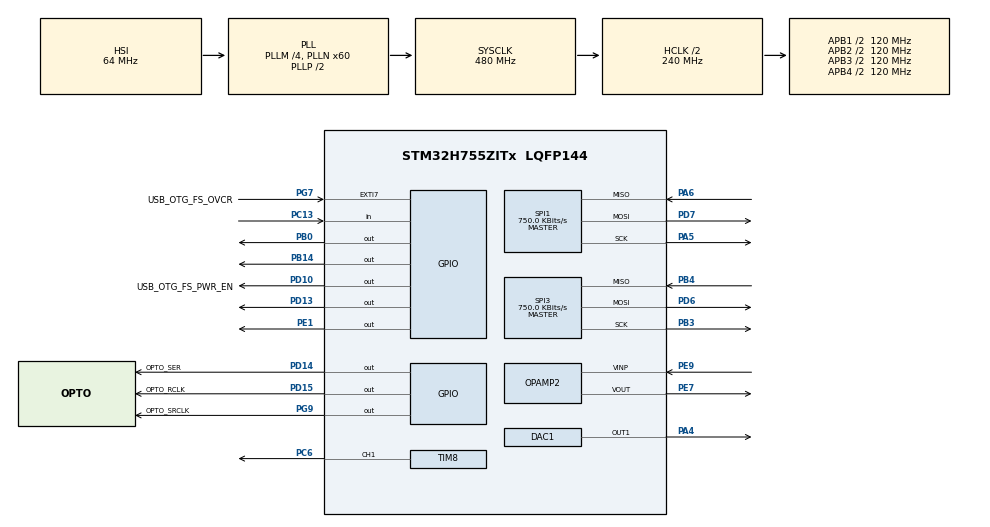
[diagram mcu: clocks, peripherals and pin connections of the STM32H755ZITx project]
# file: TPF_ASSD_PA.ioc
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CortexM4.IPs=FATFS_M4\:I,FREERTOS_M4\:I,IWDG2\:I,RCC,WWDG2\:I,DMA,BDMA,MDMA,NVIC2\:I,ETH,USART3,DEBUG,PDM2PCM_M4\:I,PWR,RESMGR_UTILITY,SYS_M4\:I,USB_DEVICE_M4\:I,USB_HOST_M4\:I,CORTEX_M4\:I,GPIO,OPENAMP_M4\:I,VREFBUF,NUCLEO-H755ZI-Q
CortexM7.IPs=FATFS_M7\:I,FREERTOS_M7\:I,IWDG1\:I,RCC\:I,WWDG1\:I,DMA\:I,BDMA\:I,MDMA\:I,NVIC1\:I,ETH\:I,USART3\:I,USB_OTG_FS\:I,SYS\:I,CORTEX_M7\:I,DEBUG\:I,PDM2PCM_M7\:I,PWR\:I,RESMGR_UTILITY\:I,USB_DEVICE_M7\:I,USB_HOST_M7\:I,GPIO\:I,OPENAMP_M7\:I,VREFBUF\:I,NUCLEO-H755ZI-Q\:I,MEMORYMAP\:I,DAC1\:I,TIM7\:I,COMP1\:I,OPAMP2\:I,SPI1\:I,TIM8\:I,SPI3\:I
CortexM7.Pins=PD13,PD14,PD15,PG9
DAC1.DAC_Channel-DAC_OUT1=DAC_CHANNEL_1
DAC1.DAC_Trigger-DAC_OUT1=DAC_TRIGGER_T7_TRGO
Dma.DAC1_CH1.0.Direction=DMA_MEMORY_TO_PERIPH
Dma.DAC1_CH1.0.EventEnable=DISABLE
Dma.DAC1_CH1.0.FIFOMode=DMA_FIFOMODE_DISABLE
Dma.DAC1_CH1.0.Instance=DMA2_Stream0
Dma.DAC1_CH1.0.MemDataAlignment=DMA_MDATAALIGN_HALFWORD
Dma.DAC1_CH1.0.MemInc=DMA_MINC_ENABLE
Dma.DAC1_CH1.0.Mode=DMA_CIRCULAR
Dma.DAC1_CH1.0.PeriphDataAlignment=DMA_PDATAALIGN_HALFWORD
Dma.DAC1_CH1.0.PeriphInc=DMA_PINC_DISABLE
Dma.DAC1_CH1.0.Polarity=HAL_DMAMUX_REQ_GEN_RISING
Dma.DAC1_CH1.0.Priority=DMA_PRIORITY_HIGH
Dma.DAC1_CH1.0.RequestNumber=1
Dma.DAC1_CH1.0.SignalID=NONE
Dma.DAC1_CH1.0.SyncEnable=DISABLE
Dma.DAC1_CH1.0.SyncPolarity=HAL_DMAMUX_SYNC_NO_EVENT
Dma.DAC1_CH1.0.SyncRequestNumber=1
Dma.DAC1_CH1.0.SyncSignalID=NONE
Dma.Request0=DAC1_CH1
Dma.Request1=SPI1_RX
Dma.Request2=TIM8_CH2
Dma.Request3=TIM8_CH3
Dma.Request4=SPI3_RX
Dma.SPI1_RX.1.Direction=DMA_PERIPH_TO_MEMORY
Dma.SPI1_RX.1.EventEnable=DISABLE
Dma.SPI1_RX.1.FIFOMode=DMA_FIFOMODE_DISABLE
Dma.SPI1_RX.1.Instance=DMA1_Stream1
Dma.SPI1_RX.1.MemDataAlignment=DMA_MDATAALIGN_HALFWORD
Dma.SPI1_RX.1.MemInc=DMA_MINC_ENABLE
Dma.SPI1_RX.1.Mode=DMA_CIRCULAR
Dma.SPI1_RX.1.PeriphDataAlignment=DMA_PDATAALIGN_HALFWORD
Dma.SPI1_RX.1.PeriphInc=DMA_PINC_DISABLE
Dma.SPI1_RX.1.Polarity=HAL_DMAMUX_REQ_GEN_RISING
Dma.SPI1_RX.1.Priority=DMA_PRIORITY_HIGH
Dma.SPI1_RX.1.RequestNumber=1
Dma.SPI1_RX.1.SignalID=NONE
Dma.SPI1_RX.1.SyncEnable=DISABLE
Dma.SPI1_RX.1.SyncPolarity=HAL_DMAMUX_SYNC_NO_EVENT
Dma.SPI1_RX.1.SyncRequestNumber=1
Dma.SPI1_RX.1.SyncSignalID=NONE
Dma.SPI3_RX.4.Direction=DMA_PERIPH_TO_MEMORY
Dma.SPI3_RX.4.EventEnable=DISABLE
Dma.SPI3_RX.4.FIFOMode=DMA_FIFOMODE_DISABLE
Dma.SPI3_RX.4.Instance=DMA1_Stream4
Dma.SPI3_RX.4.MemDataAlignment=DMA_MDATAALIGN_HALFWORD
Dma.SPI3_RX.4.MemInc=DMA_MINC_ENABLE
Dma.SPI3_RX.4.Mode=DMA_CIRCULAR
Dma.SPI3_RX.4.PeriphDataAlignment=DMA_PDATAALIGN_HALFWORD
Dma.SPI3_RX.4.PeriphInc=DMA_PINC_DISABLE
Dma.SPI3_RX.4.Polarity=HAL_DMAMUX_REQ_GEN_RISING
Dma.SPI3_RX.4.Priority=DMA_PRIORITY_HIGH
Dma.SPI3_RX.4.RequestNumber=1
Dma.SPI3_RX.4.SignalID=NONE
Dma.SPI3_RX.4.SyncEnable=DISABLE
Dma.SPI3_RX.4.SyncPolarity=HAL_DMAMUX_SYNC_NO_EVENT
Dma.SPI3_RX.4.SyncRequestNumber=1
Dma.SPI3_RX.4.SyncSignalID=NONE
Dma.TIM8_CH2.2.Direction=DMA_MEMORY_TO_PERIPH
Dma.TIM8_CH2.2.EventEnable=DISABLE
Dma.TIM8_CH2.2.FIFOMode=DMA_FIFOMODE_DISABLE
Dma.TIM8_CH2.2.Instance=DMA1_Stream2
Dma.TIM8_CH2.2.MemDataAlignment=DMA_MDATAALIGN_HALFWORD
Dma.TIM8_CH2.2.MemInc=DMA_MINC_DISABLE
Dma.TIM8_CH2.2.Mode=DMA_CIRCULAR
Dma.TIM8_CH2.2.PeriphDataAlignment=DMA_PDATAALIGN_HALFWORD
Dma.TIM8_CH2.2.PeriphInc=DMA_PINC_DISABLE
Dma.TIM8_CH2.2.Polarity=HAL_DMAMUX_REQ_GEN_RISING
Dma.TIM8_CH2.2.Priority=DMA_PRIORITY_HIGH
Dma.TIM8_CH2.2.RequestNumber=1
Dma.TIM8_CH2.2.SignalID=NONE
Dma.TIM8_CH2.2.SyncEnable=DISABLE
Dma.TIM8_CH2.2.SyncPolarity=HAL_DMAMUX_SYNC_NO_EVENT
Dma.TIM8_CH2.2.SyncRequestNumber=1
Dma.TIM8_CH2.2.SyncSignalID=NONE
Dma.TIM8_CH3.3.Direction=DMA_MEMORY_TO_PERIPH
Dma.TIM8_CH3.3.EventEnable=DISABLE
Dma.TIM8_CH3.3.FIFOMode=DMA_FIFOMODE_DISABLE
Dma.TIM8_CH3.3.Instance=DMA1_Stream3
Dma.TIM8_CH3.3.MemDataAlignment=DMA_MDATAALIGN_HALFWORD
Dma.TIM8_CH3.3.MemInc=DMA_MINC_DISABLE
Dma.TIM8_CH3.3.Mode=DMA_CIRCULAR
Dma.TIM8_CH3.3.PeriphDataAlignment=DMA_PDATAALIGN_HALFWORD
Dma.TIM8_CH3.3.PeriphInc=DMA_PINC_DISABLE
Dma.TIM8_CH3.3.Polarity=HAL_DMAMUX_REQ_GEN_RISING
Dma.TIM8_CH3.3.Priority=DMA_PRIORITY_HIGH
Dma.TIM8_CH3.3.RequestNumber=1
Dma.TIM8_CH3.3.SignalID=NONE
Dma.TIM8_CH3.3.SyncEnable=DISABLE
Dma.TIM8_CH3.3.SyncPolarity=HAL_DMAMUX_SYNC_NO_EVENT
Dma.TIM8_CH3.3.SyncRequestNumber=1
Dma.TIM8_CH3.3.SyncSignalID=NONE
Mcu.Family=STM32H7
Mcu.Name=STM32H755ZITx
Mcu.Package=LQFP144
NUCLEO-H755ZI-Q.BUTTON=1
NUCLEO-H755ZI-Q.LD1=true
NUCLEO-H755ZI-Q.LD2=true
NUCLEO-H755ZI-Q.LD3=true
NUCLEO-H755ZI-Q.VCP=true
NVIC1.DMA1_Stream1_IRQn=true\:0\:0\:false\:false\:true\:false\:true\:true
NVIC1.DMA1_Stream2_IRQn=true\:0\:0\:false\:false\:true\:false\:true\:true
NVIC1.DMA1_Stream3_IRQn=true\:0\:0\:false\:false\:true\:false\:true\:true
NVIC1.DMA1_Stream4_IRQn=true\:0\:0\:false\:false\:true\:false\:true\:true
NVIC1.DMA2_Stream0_IRQn=true\:0\:0\:false\:false\:true\:false\:true\:true
NVIC1.EXTI15_10_IRQn=true\:0\:0\:false\:false\:true\:false\:true\:true
NVIC1.PriorityGroup=NVIC_PRIORITYGROUP_4
NVIC1.SPI1_IRQn=true\:0\:0\:false\:false\:true\:false\:true\:true
NVIC1.SPI3_IRQn=true\:0\:0\:false\:false\:true\:false\:true\:true
NVIC2.PriorityGroup=NVIC_PRIORITYGROUP_4
OPAMP2.PowerMode=OPAMP_POWERMODE_HIGHSPEED
PA1.PinAttribute=CortexM7
PA1.Signal=ETH_REF_CLK
PA11.PinAttribute=CortexM7
PA11.Signal=USB_OTG_FS_DM
PA12.PinAttribute=CortexM7
PA12.Signal=USB_OTG_FS_DP
PA2.PinAttribute=CortexM7
PA2.Signal=ETH_MDIO
PA4.PinAttribute=CortexM7
PA4.Signal=COMP_DAC11_group
PA5.GPIO_Speed=GPIO_SPEED_FREQ_HIGH
PA5.Mode=Full_Duplex_Master
PA5.PinAttribute=CortexM7
PA5.Signal=SPI1_SCK
PA6.Mode=Full_Duplex_Master
PA6.PinAttribute=CortexM7
PA6.Signal=SPI1_MISO
PA7.PinAttribute=CortexM7
PA7.Signal=ETH_CRS_DV
PA8.PinAttribute=CortexM7
PA8.Signal=USB_OTG_FS_SOF
PA9.PinAttribute=CortexM7
PA9.Signal=USB_OTG_FS_VBUS
PB0.Signal=GPIO_Output
PB13.PinAttribute=CortexM7
PB13.Signal=ETH_TXD1
PB14.Signal=GPIO_Output
PB3\ (JTDO/TRACESWO).GPIO_Speed=GPIO_SPEED_FREQ_HIGH
PB3\ (JTDO/TRACESWO).Mode=Full_Duplex_Master
PB3\ (JTDO/TRACESWO).PinAttribute=CortexM7
PB3\ (JTDO/TRACESWO).Signal=SPI3_SCK
PB4\ (NJTRST).GPIO_Speed=GPIO_SPEED_FREQ_LOW
PB4\ (NJTRST).Mode=Full_Duplex_Master
PB4\ (NJTRST).PinAttribute=CortexM7
PB4\ (NJTRST).Signal=SPI3_MISO
PC1.PinAttribute=CortexM7
PC1.Signal=ETH_MDC
PC13.Signal=GPIO_Input
PC14-OSC32_IN\ (OSC32_IN).PinAttribute=Free
PC14-OSC32_IN\ (OSC32_IN).Signal=RCC_OSC32_IN
PC15-OSC32_OUT\ (OSC32_OUT).PinAttribute=Free
PC15-OSC32_OUT\ (OSC32_OUT).Signal=RCC_OSC32_OUT
PC4.PinAttribute=CortexM7
PC4.Signal=ETH_RXD0
PC5.PinAttribute=CortexM7
PC5.Signal=ETH_RXD1
PC6.GPIO_Speed=GPIO_SPEED_FREQ_HIGH
PC6.PinAttribute=CortexM7
PC6.Signal=S_TIM8_CH1
PC8.PinAttribute=CortexM7
PC8.Signal=S_TIM8_CH3
PD10.GPIO_Label=USB_OTG_FS_PWR_EN
PD10.PinAttribute=Free
PD10.Signal=GPIO_Output
PD13.GPIO_Speed=GPIO_SPEED_FREQ_MEDIUM
PD13.PinAttribute=CortexM7
PD13.Signal=GPIO_Output
PD14.GPIO_Label=OPTO_SER
PD14.GPIO_Speed=GPIO_SPEED_FREQ_MEDIUM
PD14.PinAttribute=CortexM7
PD14.Signal=GPIO_Output
PD15.GPIO_Label=OPTO_RCLK
PD15.GPIO_Speed=GPIO_SPEED_FREQ_MEDIUM
PD15.PinAttribute=CortexM7
PD15.Signal=GPIO_Output
PD6.GPIO_Speed=GPIO_SPEED_FREQ_LOW
PD6.Mode=Full_Duplex_Master
PD6.PinAttribute=CortexM7
PD6.Signal=SPI3_MOSI
PD7.Mode=Full_Duplex_Master
PD7.PinAttribute=CortexM7
PD7.Signal=SPI1_MOSI
PD8.Signal=USART3_TX
PD9.Signal=USART3_RX
PE1.Signal=GPIO_Output
PE7.Mode=Follower
PE7.PinAttribute=CortexM7
PE7.Signal=OPAMP2_VOUT
PE9.Mode=Follower
PE9.PinAttribute=CortexM7
PE9.Signal=OPAMP2_VINP
PG11.PinAttribute=CortexM7
PG11.Signal=ETH_TX_EN
PG13.PinAttribute=CortexM7
PG13.Signal=ETH_TXD0
PG7.GPIO_Label=USB_OTG_FS_OVCR
PG7.PinAttribute=Free
PG7.Signal=GPXTI7
PG9.GPIO_Label=OPTO_SRCLK
PG9.GPIO_Speed=GPIO_SPEED_FREQ_MEDIUM
PG9.PinAttribute=CortexM7
PG9.Signal=GPIO_Output
PH0-OSC_IN\ (PH0).PinAttribute=Free
PH0-OSC_IN\ (PH0).Signal=RCC_OSC_IN
PH1-OSC_OUT\ (PH1).PinAttribute=Free
PH1-OSC_OUT\ (PH1).Signal=RCC_OSC_OUT
ProjectManager.HeapSize=M4-0x200,M7-0x200
ProjectManager.StackSize=M4-0x400,M7-0x400
ProjectManager.TargetToolchain=STM32CubeIDE
RCC.ADCFreq_Value=129000000
RCC.APB1Freq_Value=120000000
RCC.APB2Freq_Value=120000000
RCC.APB3Freq_Value=120000000
RCC.APB4Freq_Value=120000000
RCC.CortexFreq_Value=480000000
RCC.D1PPRE=RCC_APB3_DIV2
RCC.D2PPRE1=RCC_APB1_DIV2
RCC.D2PPRE2=RCC_APB2_DIV2
RCC.D3PPRE=RCC_APB4_DIV2
RCC.DIVM1=4
RCC.DIVN1=60
RCC.DIVQ1=5
RCC.HCLKFreq_Value=240000000
RCC.HPRE=RCC_HCLK_DIV2
RCC.PLL2FRACN=0
RCC.PLL3FRACN=0
RCC.PLLFRACN=0
RCC.SYSCLKFreq_VALUE=480000000
RCC.SYSCLKSource=RCC_SYSCLKSOURCE_PLLCLK
RCC.SupplySource=PWR_LDO_SUPPLY
RCC.USBFreq_Value=192000000
SH.COMP_DAC11_group.0=DAC1_OUT1,DAC_OUT1
SH.S_TIM8_CH1.0=TIM8_CH1,PWM Generation1 CH1
SH.S_TIM8_CH3.0=TIM8_CH3
SPI1.BaudRatePrescaler=SPI_BAUDRATEPRESCALER_256
SPI1.CalculateBaudRate=750.0 KBits/s
SPI1.DataSize=SPI_DATASIZE_16BIT
SPI1.Direction=SPI_DIRECTION_2LINES
SPI1.Mode=SPI_MODE_MASTER
SPI1.VirtualType=VM_MASTER
SPI3.BaudRatePrescaler=SPI_BAUDRATEPRESCALER_256
SPI3.CalculateBaudRate=750.0 KBits/s
SPI3.DataSize=SPI_DATASIZE_16BIT
SPI3.Direction=SPI_DIRECTION_2LINES
SPI3.Mode=SPI_MODE_MASTER
SPI3.VirtualType=VM_MASTER
TIM7.Period=250-1
TIM7.TIM_MasterOutputTrigger=TIM_TRGO_UPDATE
TIM8.Channel-PWM\ Generation1\ CH1=TIM_CHANNEL_1
TIM8.Channel-PWM\ Generation2\ No\ Output=TIM_CHANNEL_2
TIM8.Channel-PWM\ Generation3\ No\ Output=TIM_CHANNEL_3
TIM8.OCMode_PWM-PWM\ Generation1\ CH1=TIM_OCMODE_PWM2
TIM8.OCPolarity_1=TIM_OCPOLARITY_LOW
TIM8.Period=24000-1
TIM8.Pulse-PWM\ Generation1\ CH1=300
TIM8.Pulse-PWM\ Generation2\ No\ Output=400
TIM8.Pulse-PWM\ Generation3\ No\ Output=400
VP_MEMORYMAP_VS_MEMORYMAP.Mode=CurAppReg
VP_NUCLEO-H755ZI-Q_VS_BSP_COMMON.Mode=COMMON
VP_SYS_M4_VS_Systick.Mode=SysTick
VP_TIM7_VS_ClockSourceINT.Mode=Enable_Timer
VP_TIM8_VS_no_output2.Mode=PWM Generation2 No Output
VP_TIM8_VS_no_output3.Mode=PWM Generation3 No Output
board=NUCLEO-H755ZI-Q

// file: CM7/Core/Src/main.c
/* USER CODE BEGIN Header */
/**
  ******************************************************************************
  * @file           : main.c
  * @brief          : Main program body
  ******************************************************************************
  * @attention
  *
  * Copyright (c) 2026 STMicroelectronics.
  * All rights reserved.
  *
  * This software is licensed under terms that can be found in the LICENSE file
  * in the root directory of this software component.
  * If no LICENSE file comes with this software, it is provided AS-IS.
  *
  ******************************************************************************
  */
/* USER CODE END Header */
#include "main.h"

/* USER CODE BEGIN Includes */
#include "string.h"
#include "dsp_pipeline.h"    /* DSP pipeline orchestration */
#include "dsp_tests.h"       /* DSP test suite (optional) */
/* USER CODE END Includes */

/* USER CODE BEGIN PD */

/* Enable DSP test suite at startup (comment out for production) */
#define RUN_DSP_TESTS_AT_STARTUP 1

/* DUAL_CORE_BOOT_SYNC_SEQUENCE: Define for dual core boot synchronization    */
/*                             demonstration code based on hardware semaphore */
/* This define is present in both CM7/CM4 projects                            */
/* To comment when developping/debugging on a single core                     */
#define DUAL_CORE_BOOT_SYNC_SEQUENCE

#if defined(DUAL_CORE_BOOT_SYNC_SEQUENCE)
#ifndef HSEM_ID_0
#define HSEM_ID_0 (0U) /* HW semaphore 0*/
#endif
#endif /* DUAL_CORE_BOOT_SYNC_SEQUENCE */

/* USER CODE END PD */

COM_InitTypeDef BspCOMInit;

DAC_HandleTypeDef hdac1;
DMA_HandleTypeDef hdma_dac1_ch1;

OPAMP_HandleTypeDef hopamp2;

SPI_HandleTypeDef hspi1;
SPI_HandleTypeDef hspi3;
DMA_HandleTypeDef hdma_spi1_rx;
DMA_HandleTypeDef hdma_spi3_rx;

TIM_HandleTypeDef htim7;
TIM_HandleTypeDef htim8;
DMA_HandleTypeDef hdma_tim8_ch2;
DMA_HandleTypeDef hdma_tim8_ch3;

/* USER CODE BEGIN PV */

const uint16_t sine_lut_48[48] = {
    2048, 2288, 2524, 2753, 2969, 3169, 3351, 3509,
    3643, 3750, 3827, 3874, 3890, 3874, 3827, 3750,
    3643, 3509, 3351, 3169, 2969, 2753, 2524, 2288,
    2048, 1807, 1571, 1342, 1126,  926,  744,  586,
     452,  345,  268,  221,  205,  221,  268,  345,
     452,  586,  744,  926, 1126, 1342, 1571, 1807,
};

#define N_SAMPLES 5120
#define N_SAMPLES_HALF 2560
static uint16_t adc_V_buf[N_SAMPLES];
static uint16_t adc_I_buf[N_SAMPLES];
static uint16_t spi_tx_V_dummy = 0x0000;
static uint16_t spi_tx_I_dummy = 0x0000;

/* DSP Pipeline Instance - maintains filter state, FFT tables, measurements */
static DSPPipeline_t dsp_pipeline;

/* Measurement output - updated by DSP after each half-buffer */
static MeasurementOutput_t measurement_result;
static volatile uint8_t result_ready = 0;

/* Interrupt flags - set when each half-buffer is complete */
static volatile uint8_t v_half_ready = 0, i_half_ready = 0;
static volatile uint8_t v_full_ready = 0, i_full_ready = 0;

extern UART_HandleTypeDef hcom_uart[];

/* PGA281 gain command reception from PC GUI over the same VCP UART.
   Protocol: ASCII line "GAIN,<v_gain>,<i_gain>\n" (gains: 1,2,4,...,128) */
#define PGA_CMD_BUF_LEN 32
#define PGA_DEFAULT_V_GAIN 4
#define PGA_DEFAULT_I_GAIN 16
static uint8_t pga_rx_byte;
static char pga_cmd_buf[PGA_CMD_BUF_LEN];
static volatile uint8_t pga_cmd_len = 0;
static volatile uint8_t pga_cmd_ready = 0;

/* Gains currently applied to the hardware; echoed in every measurement frame
   so the PC always scales with the real active gains */
static volatile uint16_t pga_active_v_gain = PGA_DEFAULT_V_GAIN;
static volatile uint16_t pga_active_i_gain = PGA_DEFAULT_I_GAIN;

// prototipos
void V_RxHalfDone(DMA_HandleTypeDef *hdma);
void V_RxFullDone(DMA_HandleTypeDef *hdma);
void I_RxHalfDone(DMA_HandleTypeDef *hdma);
void I_RxFullDone(DMA_HandleTypeDef *hdma);
void DWT_Init(void);
int DWT_Verify(void);
static inline void delay_us(uint32_t us);
void OPTO_ShiftOut(uint8_t data);
uint8_t GetPGAGainCode(uint16_t gain);
void SetPGA_Gains(uint16_t voltage_gain, uint16_t current_gain);
static void PGA_ProcessCommand(void);

/* USER CODE END PV */

void SystemClock_Config(void);
static void MX_DMA_Init(void);
static void MX_GPIO_Init(void);
static void MX_DAC1_Init(void);
static void MX_TIM7_Init(void);
static void MX_OPAMP2_Init(void);
static void MX_SPI1_Init(void);
static void MX_TIM8_Init(void);
static void MX_SPI3_Init(void);

int main(void)
{

/* USER CODE BEGIN Boot_Mode_Sequence_0 */
#if defined(DUAL_CORE_BOOT_SYNC_SEQUENCE)
  int32_t timeout;
#endif /* DUAL_CORE_BOOT_SYNC_SEQUENCE */
/* USER CODE END Boot_Mode_Sequence_0 */

/* USER CODE BEGIN Boot_Mode_Sequence_1 */
#if defined(DUAL_CORE_BOOT_SYNC_SEQUENCE)
  /* Wait until CPU2 boots and enters in stop mode or timeout*/
  timeout = 0xFFFF;
  while((__HAL_RCC_GET_FLAG(RCC_FLAG_D2CKRDY) != RESET) && (timeout-- > 0));
  if ( timeout < 0 )
  {
  Error_Handler();
  }
#endif /* DUAL_CORE_BOOT_SYNC_SEQUENCE */
/* USER CODE END Boot_Mode_Sequence_1 */
  /* MCU Configuration--------------------------------------------------------*/

  /* Reset of all peripherals, Initializes the Flash interface and the Systick. */
  HAL_Init();

  /* Configure the system clock */
  SystemClock_Config();
/* USER CODE BEGIN Boot_Mode_Sequence_2 */
#if defined(DUAL_CORE_BOOT_SYNC_SEQUENCE)
/* When system initialization is finished, Cortex-M7 will release Cortex-M4 by means of
HSEM notification */
/*HW semaphore Clock enable*/
__HAL_RCC_HSEM_CLK_ENABLE();
/*Take HSEM */
HAL_HSEM_FastTake(HSEM_ID_0);
/*Release HSEM in order to notify the CPU2(CM4)*/
HAL_HSEM_Release(HSEM_ID_0,0);
/* wait until CPU2 wakes up from stop mode */
timeout = 0xFFFF;
while((__HAL_RCC_GET_FLAG(RCC_FLAG_D2CKRDY) == RESET) && (timeout-- > 0));
if ( timeout < 0 )
{
Error_Handler();
}
#endif /* DUAL_CORE_BOOT_SYNC_SEQUENCE */
/* USER CODE END Boot_Mode_Sequence_2 */

  /* Initialize all configured peripherals */
  MX_DMA_Init();
  MX_GPIO_Init();
  MX_DAC1_Init();
  MX_TIM7_Init();
  MX_OPAMP2_Init();
  MX_SPI1_Init();
  MX_TIM8_Init();
  MX_SPI3_Init();
  /* USER CODE BEGIN 2 */

  /* Initialize DSP Pipeline */
  if (dsp_pipeline_init(&dsp_pipeline) < 0) {
      Error_Handler();
  }

  /* Run DSP test suite if enabled */
  #if defined(RUN_DSP_TESTS_AT_STARTUP)
  dsp_run_all_tests();
  #endif

  /* USER CODE END 2 */

  /* Initialize leds */
  BSP_LED_Init(LED_GREEN);
  BSP_LED_Init(LED_YELLOW);
  BSP_LED_Init(LED_RED);

  /* Initialize USER push-button, will be used to trigger an interrupt each time it's pressed.*/
  BSP_PB_Init(BUTTON_USER, BUTTON_MODE_EXTI);

  /* Initialize COM1 port (115200, 8 bits (7-bit data + 1 stop bit), no parity */
  BspCOMInit.BaudRate   = 115200;
  BspCOMInit.WordLength = COM_WORDLENGTH_8B;
  BspCOMInit.StopBits   = COM_STOPBITS_1;
  BspCOMInit.Parity     = COM_PARITY_NONE;
  BspCOMInit.HwFlowCtl  = COM_HWCONTROL_NONE;
  if (BSP_COM_Init(COM1, &BspCOMInit) != BSP_ERROR_NONE)
  {
    Error_Handler();
  }

  /* Infinite loop */
  /* USER CODE BEGIN WHILE */

  DWT_Init();
  HAL_Delay(1);
  if (DWT_Verify()){
	  BSP_LED_On(LED_RED);
  }
  /* PGA281 default gains (V=4, I=16 -> shift_data 0x5E, same as previous
     hardcoded value). Changeable at runtime via "GAIN,<v>,<i>\n" from the GUI. */
  SetPGA_Gains(PGA_DEFAULT_V_GAIN, PGA_DEFAULT_I_GAIN);

  /* Listen for PGA gain commands on the VCP UART (byte-by-byte, interrupt) */
  HAL_NVIC_SetPriority(USART3_IRQn, 5, 0);
  HAL_NVIC_EnableIRQ(USART3_IRQn);
  HAL_UART_Receive_IT(&hcom_uart[COM1], &pga_rx_byte, 1);

  HAL_OPAMP_SelfCalibrate(&hopamp2); // OPAMP para el filtro reconstructor
  HAL_OPAMP_Start(&hopamp2);

  HAL_DAC_Start_DMA(&hdac1, DAC_CHANNEL_1, (uint32_t*)sine_lut_48, 48, DAC_ALIGN_12B_R); // DAC sine wave with DMA
  HAL_TIM_Base_Start(&htim7); // DAC trigger
  HAL_Delay(100);
  HAL_GPIO_WritePin(GPIOD, GPIO_PIN_13, 1); // shutdown pin LM4871

  HAL_Delay(1000);

  // Tcnv = 1200ns (Entre que sube y baja el tim8)
  // Ten = 1300ns + 15ns max (entre que sube tim8 y trgo2)

  // Callbacks
  hdma_spi1_rx.XferHalfCpltCallback = V_RxHalfDone;
  hdma_spi1_rx.XferCpltCallback     = V_RxFullDone;

  hdma_spi3_rx.XferHalfCpltCallback = I_RxHalfDone;
  hdma_spi3_rx.XferCpltCallback     = I_RxFullDone;

  /* 1. RX side: continuous circular capture with 5120 samples
     Half-Transfer interrupt fires after 2560 samples (first half complete)
     Transfer-Complete interrupt fires after 5120 samples (second half complete) */
  HAL_DMA_Start_IT(&hdma_spi1_rx, (uint32_t)&hspi1.Instance->RXDR, (uint32_t)adc_V_buf, N_SAMPLES);
  HAL_DMA_Start_IT(&hdma_spi3_rx, (uint32_t)&hspi3.Instance->RXDR, (uint32_t)adc_I_buf, N_SAMPLES);

  /* 2. "TX" side: TIM8_CH2/CH3's DMA request feeds ONE dummy halfword into
        SPI1/SPI3->TXDR every time compare matches (paced by timer) */
  HAL_DMA_Start(&hdma_tim8_ch2, (uint32_t)&spi_tx_V_dummy, (uint32_t)&hspi1.Instance->TXDR, 1);
  HAL_DMA_Start(&hdma_tim8_ch3, (uint32_t)&spi_tx_I_dummy, (uint32_t)&hspi3.Instance->TXDR, 1);

  __HAL_TIM_ENABLE_DMA(&htim8, TIM_DMA_CC2);
  __HAL_TIM_ENABLE_DMA(&htim8, TIM_DMA_CC3);

  /* 3. Enable SPI DMA requests, enable SPI, arm the transfer */
  SET_BIT(hspi1.Instance->CFG1, SPI_CFG1_RXDMAEN);
  SET_BIT(hspi1.Instance->CFG1, SPI_CFG1_TXDMAEN);
  __HAL_SPI_ENABLE(&hspi1);
  SET_BIT(hspi1.Instance->CR1, SPI_CR1_CSTART);  /* master transfer start */

  SET_BIT(hspi3.Instance->CFG1, SPI_CFG1_RXDMAEN);
  SET_BIT(hspi3.Instance->CFG1, SPI_CFG1_TXDMAEN);
  __HAL_SPI_ENABLE(&hspi3);
  SET_BIT(hspi3.Instance->CR1, SPI_CR1_CSTART);  /* master transfer start */

  /* 4. Only now start TIM8 — CNVST pulses + the internal CH2 gate begin */
  HAL_TIM_PWM_Start(&htim8, TIM_CHANNEL_1);   // CNVST, physical pin
  HAL_TIM_PWM_Start(&htim8, TIM_CHANNEL_2);    // internal only, generates the // CH2 DMA request each period
  HAL_TIM_PWM_Start(&htim8, TIM_CHANNEL_3);

  uint32_t last_send_tick = 0;

  while (1)
  {
	/* Timer-based transmission (every 1000ms, independent of DSP processing)
	   DSP processing happens interrupt-driven after each half-buffer (every ~512ms)
	   This allows multiple DSP results to accumulate, then we send periodically */
	if (result_ready && (HAL_GetTick() - last_send_tick >= 1000)) {
		last_send_tick = HAL_GetTick();

		/* Stamp the active PGA gains so the PC can rescale to physical units */
		measurement_result.v_gain = (uint8_t)pga_active_v_gain;
		measurement_result.i_gain = (uint8_t)pga_active_i_gain;

		/* Transmit measurement results (NEW BINARY FORMAT) */
		/* Send measurement frame header */
		uint32_t header = 0xAA55AA55;
		HAL_UART_Transmit(&hcom_uart[COM1], (uint8_t*)&header, sizeof(header), 50);

		/* Send measurement struct (binary, ~200 bytes) */
		HAL_UART_Transmit(&hcom_uart[COM1], (uint8_t*)&measurement_result, sizeof(measurement_result), 100);

		/* Send frame footer for verification */
		uint32_t footer = 0x55AA55AA;
		HAL_UART_Transmit(&hcom_uart[COM1], (uint8_t*)&footer, sizeof(footer), 50);

		/* Clear result flag after transmission */
		result_ready = 0;
	}

	/* Apply PGA gain change requested by the GUI (parsed outside the ISR
	   because OPTO_ShiftOut busy-waits with delay_us) */
	if (pga_cmd_ready) {
		PGA_ProcessCommand();
		pga_cmd_ready = 0;
	}
    /* USER CODE END WHILE */

  }
}

void SystemClock_Config(void)
{
  RCC_OscInitTypeDef RCC_OscInitStruct = {0};
  RCC_ClkInitTypeDef RCC_ClkInitStruct = {0};

  /** Supply configuration update enable
  */
  HAL_PWREx_ConfigSupply(PWR_LDO_SUPPLY);

  /** Configure the main internal regulator output voltage
  */
  __HAL_PWR_VOLTAGESCALING_CONFIG(PWR_REGULATOR_VOLTAGE_SCALE0);

  while(!__HAL_PWR_GET_FLAG(PWR_FLAG_VOSRDY)) {}

  /** Initializes the RCC Oscillators according to the specified parameters
  * in the RCC_OscInitTypeDef structure.
  */
  RCC_OscInitStruct.OscillatorType = RCC_OSCILLATORTYPE_HSI;
  RCC_OscInitStruct.HSIState = RCC_HSI_DIV1;
  RCC_OscInitStruct.HSICalibrationValue = RCC_HSICALIBRATION_DEFAULT;
  RCC_OscInitStruct.PLL.PLLState = RCC_PLL_ON;
  RCC_OscInitStruct.PLL.PLLSource = RCC_PLLSOURCE_HSI;
  RCC_OscInitStruct.PLL.PLLM = 4;
  RCC_OscInitStruct.PLL.PLLN = 60;
  RCC_OscInitStruct.PLL.PLLP = 2;
  RCC_OscInitStruct.PLL.PLLQ = 5;
  RCC_OscInitStruct.PLL.PLLR = 2;
  RCC_OscInitStruct.PLL.PLLRGE = RCC_PLL1VCIRANGE_3;
  RCC_OscInitStruct.PLL.PLLVCOSEL = RCC_PLL1VCOWIDE;
  RCC_OscInitStruct.PLL.PLLFRACN = 0;
  if (HAL_RCC_OscConfig(&RCC_OscInitStruct) != HAL_OK)
  {
    Error_Handler();
  }

  /** Initializes the CPU, AHB and APB buses clocks
  */
  RCC_ClkInitStruct.ClockType = RCC_CLOCKTYPE_HCLK|RCC_CLOCKTYPE_SYSCLK
                              |RCC_CLOCKTYPE_PCLK1|RCC_CLOCKTYPE_PCLK2
                              |RCC_CLOCKTYPE_D3PCLK1|RCC_CLOCKTYPE_D1PCLK1;
  RCC_ClkInitStruct.SYSCLKSource = RCC_SYSCLKSOURCE_PLLCLK;
  RCC_ClkInitStruct.SYSCLKDivider = RCC_SYSCLK_DIV1;
  RCC_ClkInitStruct.AHBCLKDivider = RCC_HCLK_DIV2;
  RCC_ClkInitStruct.APB3CLKDivider = RCC_APB3_DIV2;
  RCC_ClkInitStruct.APB1CLKDivider = RCC_APB1_DIV2;
  RCC_ClkInitStruct.APB2CLKDivider = RCC_APB2_DIV2;
  RCC_ClkInitStruct.APB4CLKDivider = RCC_APB4_DIV2;

  if (HAL_RCC_ClockConfig(&RCC_ClkInitStruct, FLASH_LATENCY_4) != HAL_OK)
  {
    Error_Handler();
  }
}

static void MX_DAC1_Init(void)
{

  DAC_ChannelConfTypeDef sConfig = {0};

  /** DAC Initialization
  */
  hdac1.Instance = DAC1;
  if (HAL_DAC_Init(&hdac1) != HAL_OK)
  {
    Error_Handler();
  }

  /** DAC channel OUT1 config
  */
  sConfig.DAC_SampleAndHold = DAC_SAMPLEANDHOLD_DISABLE;
  sConfig.DAC_Trigger = DAC_TRIGGER_T7_TRGO;
  sConfig.DAC_OutputBuffer = DAC_OUTPUTBUFFER_ENABLE;
  sConfig.DAC_ConnectOnChipPeripheral = DAC_CHIPCONNECT_DISABLE;
  sConfig.DAC_UserTrimming = DAC_TRIMMING_FACTORY;
  if (HAL_DAC_ConfigChannel(&hdac1, &sConfig, DAC_CHANNEL_1) != HAL_OK)
  {
    Error_Handler();
  }

}

static void MX_OPAMP2_Init(void)
{

  hopamp2.Instance = OPAMP2;
  hopamp2.Init.Mode = OPAMP_FOLLOWER_MODE;
  hopamp2.Init.PowerMode = OPAMP_POWERMODE_HIGHSPEED;
  hopamp2.Init.UserTrimming = OPAMP_TRIMMING_FACTORY;
  if (HAL_OPAMP_Init(&hopamp2) != HAL_OK)
  {
    Error_Handler();
  }

}

static void MX_SPI1_Init(void)
{

  /* SPI1 parameter configuration*/
  hspi1.Instance = SPI1;
  hspi1.Init.Mode = SPI_MODE_MASTER;
  hspi1.Init.Direction = SPI_DIRECTION_2LINES;
  hspi1.Init.DataSize = SPI_DATASIZE_16BIT;
  hspi1.Init.CLKPolarity = SPI_POLARITY_LOW;
  hspi1.Init.CLKPhase = SPI_PHASE_1EDGE;
  hspi1.Init.NSS = SPI_NSS_SOFT;
  hspi1.Init.BaudRatePrescaler = SPI_BAUDRATEPRESCALER_256;
  hspi1.Init.FirstBit = SPI_FIRSTBIT_MSB;
  hspi1.Init.TIMode = SPI_TIMODE_DISABLE;
  hspi1.Init.CRCCalculation = SPI_CRCCALCULATION_DISABLE;
  hspi1.Init.CRCPolynomial = 0x0;
  hspi1.Init.NSSPMode = SPI_NSS_PULSE_ENABLE;
  hspi1.Init.NSSPolarity = SPI_NSS_POLARITY_LOW;
  hspi1.Init.FifoThreshold = SPI_FIFO_THRESHOLD_01DATA;
  hspi1.Init.TxCRCInitializationPattern = SPI_CRC_INITIALIZATION_ALL_ZERO_PATTERN;
  hspi1.Init.RxCRCInitializationPattern = SPI_CRC_INITIALIZATION_ALL_ZERO_PATTERN;
  hspi1.Init.MasterSSIdleness = SPI_MASTER_SS_IDLENESS_00CYCLE;
  hspi1.Init.MasterInterDataIdleness = SPI_MASTER_INTERDATA_IDLENESS_00CYCLE;
  hspi1.Init.MasterReceiverAutoSusp = SPI_MASTER_RX_AUTOSUSP_DISABLE;
  hspi1.Init.MasterKeepIOState = SPI_MASTER_KEEP_IO_STATE_DISABLE;
  hspi1.Init.IOSwap = SPI_IO_SWAP_DISABLE;
  if (HAL_SPI_Init(&hspi1) != HAL_OK)
  {
    Error_Handler();
  }

}

static void MX_SPI3_Init(void)
{

  /* SPI3 parameter configuration*/
  hspi3.Instance = SPI3;
  hspi3.Init.Mode = SPI_MODE_MASTER;
  hspi3.Init.Direction = SPI_DIRECTION_2LINES;
  hspi3.Init.DataSize = SPI_DATASIZE_16BIT;
  hspi3.Init.CLKPolarity = SPI_POLARITY_LOW;
  hspi3.Init.CLKPhase = SPI_PHASE_1EDGE;
  hspi3.Init.NSS = SPI_NSS_SOFT;
  hspi3.Init.BaudRatePrescaler = SPI_BAUDRATEPRESCALER_256;
  hspi3.Init.FirstBit = SPI_FIRSTBIT_MSB;
  hspi3.Init.TIMode = SPI_TIMODE_DISABLE;
  hspi3.Init.CRCCalculation = SPI_CRCCALCULATION_DISABLE;
  hspi3.Init.CRCPolynomial = 0x0;
  hspi3.Init.NSSPMode = SPI_NSS_PULSE_ENABLE;
  hspi3.Init.NSSPolarity = SPI_NSS_POLARITY_LOW;
  hspi3.Init.FifoThreshold = SPI_FIFO_THRESHOLD_01DATA;
  hspi3.Init.TxCRCInitializationPattern = SPI_CRC_INITIALIZATION_ALL_ZERO_PATTERN;
  hspi3.Init.RxCRCInitializationPattern = SPI_CRC_INITIALIZATION_ALL_ZERO_PATTERN;
  hspi3.Init.MasterSSIdleness = SPI_MASTER_SS_IDLENESS_00CYCLE;
  hspi3.Init.MasterInterDataIdleness = SPI_MASTER_INTERDATA_IDLENESS_00CYCLE;
  hspi3.Init.MasterReceiverAutoSusp = SPI_MASTER_RX_AUTOSUSP_DISABLE;
  hspi3.Init.MasterKeepIOState = SPI_MASTER_KEEP_IO_STATE_DISABLE;
  hspi3.Init.IOSwap = SPI_IO_SWAP_DISABLE;
  if (HAL_SPI_Init(&hspi3) != HAL_OK)
  {
    Error_Handler();
  }

}

static void MX_TIM7_Init(void)
{

  TIM_MasterConfigTypeDef sMasterConfig = {0};

  htim7.Instance = TIM7;
  htim7.Init.Prescaler = 0;
  htim7.Init.CounterMode = TIM_COUNTERMODE_UP;
  htim7.Init.Period = 250-1;
  htim7.Init.AutoReloadPreload = TIM_AUTORELOAD_PRELOAD_DISABLE;
  if (HAL_TIM_Base_Init(&htim7) != HAL_OK)
  {
    Error_Handler();
  }
  sMasterConfig.MasterOutputTrigger = TIM_TRGO_UPDATE;
  sMasterConfig.MasterSlaveMode = TIM_MASTERSLAVEMODE_DISABLE;
  if (HAL_TIMEx_MasterConfigSynchronization(&htim7, &sMasterConfig) != HAL_OK)
  {
    Error_Handler();
  }

}

static void MX_TIM8_Init(void)
{

  TIM_MasterConfigTypeDef sMasterConfig = {0};
  TIM_OC_InitTypeDef sConfigOC = {0};
  TIM_BreakDeadTimeConfigTypeDef sBreakDeadTimeConfig = {0};

  htim8.Instance = TIM8;
  htim8.Init.Prescaler = 0;
  htim8.Init.CounterMode = TIM_COUNTERMODE_UP;
  htim8.Init.Period = 24000-1;
  htim8.Init.ClockDivision = TIM_CLOCKDIVISION_DIV1;
  htim8.Init.RepetitionCounter = 0;
  htim8.Init.AutoReloadPreload = TIM_AUTORELOAD_PRELOAD_DISABLE;
  if (HAL_TIM_PWM_Init(&htim8) != HAL_OK)
  {
    Error_Handler();
  }
  sMasterConfig.MasterOutputTrigger = TIM_TRGO_RESET;
  sMasterConfig.MasterOutputTrigger2 = TIM_TRGO2_RESET;
  sMasterConfig.MasterSlaveMode = TIM_MASTERSLAVEMODE_DISABLE;
  if (HAL_TIMEx_MasterConfigSynchronization(&htim8, &sMasterConfig) != HAL_OK)
  {
    Error_Handler();
  }
  sConfigOC.OCMode = TIM_OCMODE_PWM2;
  sConfigOC.Pulse = 300;
  sConfigOC.OCPolarity = TIM_OCPOLARITY_LOW;
  sConfigOC.OCNPolarity = TIM_OCNPOLARITY_HIGH;
  sConfigOC.OCFastMode = TIM_OCFAST_DISABLE;
  sConfigOC.OCIdleState = TIM_OCIDLESTATE_RESET;
  sConfigOC.OCNIdleState = TIM_OCNIDLESTATE_RESET;
  if (HAL_TIM_PWM_ConfigChannel(&htim8, &sConfigOC, TIM_CHANNEL_1) != HAL_OK)
  {
    Error_Handler();
  }
  sConfigOC.OCMode = TIM_OCMODE_PWM1;
  sConfigOC.Pulse = 400;
  sConfigOC.OCPolarity = TIM_OCPOLARITY_HIGH;
  if (HAL_TIM_PWM_ConfigChannel(&htim8, &sConfigOC, TIM_CHANNEL_2) != HAL_OK)
  {
    Error_Handler();
  }
  if (HAL_TIM_PWM_ConfigChannel(&htim8, &sConfigOC, TIM_CHANNEL_3) != HAL_OK)
  {
    Error_Handler();
  }
  sBreakDeadTimeConfig.OffStateRunMode = TIM_OSSR_DISABLE;
  sBreakDeadTimeConfig.OffStateIDLEMode = TIM_OSSI_DISABLE;
  sBreakDeadTimeConfig.LockLevel = TIM_LOCKLEVEL_OFF;
  sBreakDeadTimeConfig.DeadTime = 0;
  sBreakDeadTimeConfig.BreakState = TIM_BREAK_DISABLE;
  sBreakDeadTimeConfig.BreakPolarity = TIM_BREAKPOLARITY_HIGH;
  sBreakDeadTimeConfig.BreakFilter = 0;
  sBreakDeadTimeConfig.Break2State = TIM_BREAK2_DISABLE;
  sBreakDeadTimeConfig.Break2Polarity = TIM_BREAK2POLARITY_HIGH;
  sBreakDeadTimeConfig.Break2Filter = 0;
  sBreakDeadTimeConfig.AutomaticOutput = TIM_AUTOMATICOUTPUT_DISABLE;
  if (HAL_TIMEx_ConfigBreakDeadTime(&htim8, &sBreakDeadTimeConfig) != HAL_OK)
  {
    Error_Handler();
  }
  HAL_TIM_MspPostInit(&htim8);

}

static void MX_DMA_Init(void)
{

  /* DMA controller clock enable */
  __HAL_RCC_DMA2_CLK_ENABLE();
  __HAL_RCC_DMA1_CLK_ENABLE();

  /* DMA interrupt init */
  /* DMA1_Stream1_IRQn interrupt configuration */
  HAL_NVIC_SetPriority(DMA1_Stream1_IRQn, 0, 0);
  HAL_NVIC_EnableIRQ(DMA1_Stream1_IRQn);
  /* DMA1_Stream2_IRQn interrupt configuration */
  HAL_NVIC_SetPriority(DMA1_Stream2_IRQn, 0, 0);
  HAL_NVIC_EnableIRQ(DMA1_Stream2_IRQn);
  /* DMA1_Stream3_IRQn interrupt configuration */
  HAL_NVIC_SetPriority(DMA1_Stream3_IRQn, 0, 0);
  HAL_NVIC_EnableIRQ(DMA1_Stream3_IRQn);
  /* DMA1_Stream4_IRQn interrupt configuration */
  HAL_NVIC_SetPriority(DMA1_Stream4_IRQn, 0, 0);
  HAL_NVIC_EnableIRQ(DMA1_Stream4_IRQn);
  /* DMA2_Stream0_IRQn interrupt configuration */
  HAL_NVIC_SetPriority(DMA2_Stream0_IRQn, 0, 0);
  HAL_NVIC_EnableIRQ(DMA2_Stream0_IRQn);

}

static void MX_GPIO_Init(void)
{
  GPIO_InitTypeDef GPIO_InitStruct = {0};

  /* GPIO Ports Clock Enable */
  __HAL_RCC_GPIOC_CLK_ENABLE();
  __HAL_RCC_GPIOA_CLK_ENABLE();
  __HAL_RCC_GPIOE_CLK_ENABLE();
  __HAL_RCC_GPIOB_CLK_ENABLE();
  __HAL_RCC_GPIOD_CLK_ENABLE();
  __HAL_RCC_GPIOG_CLK_ENABLE();

  /*Configure GPIO pin Output Level */
  HAL_GPIO_WritePin(GPIOD, GPIO_PIN_13|OPTO_SER_Pin|OPTO_RCLK_Pin, GPIO_PIN_RESET);

  /*Configure GPIO pin Output Level */
  HAL_GPIO_WritePin(OPTO_SRCLK_GPIO_Port, OPTO_SRCLK_Pin, GPIO_PIN_RESET);

  /*Configure GPIO pins : PC1 PC4 PC5 */
  GPIO_InitStruct.Pin = GPIO_PIN_1|GPIO_PIN_4|GPIO_PIN_5;
  GPIO_InitStruct.Mode = GPIO_MODE_AF_PP;
  GPIO_InitStruct.Pull = GPIO_NOPULL;
  GPIO_InitStruct.Speed = GPIO_SPEED_FREQ_LOW;
  GPIO_InitStruct.Alternate = GPIO_AF11_ETH;
  HAL_GPIO_Init(GPIOC, &GPIO_InitStruct);

  /*Configure GPIO pins : PA1 PA2 PA7 */
  GPIO_InitStruct.Pin = GPIO_PIN_1|GPIO_PIN_2|GPIO_PIN_7;
  GPIO_InitStruct.Mode = GPIO_MODE_AF_PP;
  GPIO_InitStruct.Pull = GPIO_NOPULL;
  GPIO_InitStruct.Speed = GPIO_SPEED_FREQ_LOW;
  GPIO_InitStruct.Alternate = GPIO_AF11_ETH;
  HAL_GPIO_Init(GPIOA, &GPIO_InitStruct);

  /*Configure GPIO pin : PB13 */
  GPIO_InitStruct.Pin = GPIO_PIN_13;
  GPIO_InitStruct.Mode = GPIO_MODE_AF_PP;
  GPIO_InitStruct.Pull = GPIO_NOPULL;
  GPIO_InitStruct.Speed = GPIO_SPEED_FREQ_LOW;
  GPIO_InitStruct.Alternate = GPIO_AF11_ETH;
  HAL_GPIO_Init(GPIOB, &GPIO_InitStruct);

  /*Configure GPIO pins : PD13 OPTO_SER_Pin OPTO_RCLK_Pin */
  GPIO_InitStruct.Pin = GPIO_PIN_13|OPTO_SER_Pin|OPTO_RCLK_Pin;
  GPIO_InitStruct.Mode = GPIO_MODE_OUTPUT_PP;
  GPIO_InitStruct.Pull = GPIO_NOPULL;
  GPIO_InitStruct.Speed = GPIO_SPEED_FREQ_MEDIUM;
  HAL_GPIO_Init(GPIOD, &GPIO_InitStruct);

  /*Configure GPIO pins : PA8 PA11 PA12 */
  GPIO_InitStruct.Pin = GPIO_PIN_8|GPIO_PIN_11|GPIO_PIN_12;
  GPIO_InitStruct.Mode = GPIO_MODE_AF_PP;
  GPIO_InitStruct.Pull = GPIO_NOPULL;
  GPIO_InitStruct.Speed = GPIO_SPEED_FREQ_LOW;
  GPIO_InitStruct.Alternate = GPIO_AF10_OTG1_FS;
  HAL_GPIO_Init(GPIOA, &GPIO_InitStruct);

  /*Configure GPIO pin : OPTO_SRCLK_Pin */
  GPIO_InitStruct.Pin = OPTO_SRCLK_Pin;
  GPIO_InitStruct.Mode = GPIO_MODE_OUTPUT_PP;
  GPIO_InitStruct.Pull = GPIO_NOPULL;
  GPIO_InitStruct.Speed = GPIO_SPEED_FREQ_MEDIUM;
  HAL_GPIO_Init(OPTO_SRCLK_GPIO_Port, &GPIO_InitStruct);

  /*Configure GPIO pins : PG11 PG13 */
  GPIO_InitStruct.Pin = GPIO_PIN_11|GPIO_PIN_13;
  GPIO_InitStruct.Mode = GPIO_MODE_AF_PP;
  GPIO_InitStruct.Pull = GPIO_NOPULL;
  GPIO_InitStruct.Speed = GPIO_SPEED_FREQ_LOW;
  GPIO_InitStruct.Alternate = GPIO_AF11_ETH;
  HAL_GPIO_Init(GPIOG, &GPIO_InitStruct);

}

/* USER CODE BEGIN 4 */
// TODO: Funciones

void V_RxHalfDone(DMA_HandleTypeDef *hdma)
{
    v_half_ready = 1;
    if (i_half_ready) {
        /* Process first half of buffer (indices 0 to N_SAMPLES_HALF-1)
           while DMA is filling second half */
        dsp_pipeline_process_frame(
            &dsp_pipeline,
            &adc_V_buf[0],
            &adc_I_buf[0],
            3.0f,
            16,
            &measurement_result
        );
        result_ready = 1;
        v_half_ready = 0;
        i_half_ready = 0;
    }
}

void I_RxHalfDone(DMA_HandleTypeDef *hdma)
{
    i_half_ready = 1;
    if (v_half_ready) {
        /* Process first half of buffer
           while DMA is filling second half */
        dsp_pipeline_process_frame(
            &dsp_pipeline,
            &adc_V_buf[0],
            &adc_I_buf[0],
            3.0f,
            16,
            &measurement_result
        );
        result_ready = 1;
        v_half_ready = 0;
        i_half_ready = 0;
    }
    BSP_LED_Off(LED_YELLOW);
}

void V_RxFullDone(DMA_HandleTypeDef *hdma)
{
    v_full_ready = 1;
    if (i_full_ready) {
        /* Process second half of buffer (indices N_SAMPLES_HALF to N_SAMPLES-1)
           while DMA is filling first half again */
        dsp_pipeline_process_frame(
            &dsp_pipeline,
            &adc_V_buf[N_SAMPLES_HALF],
            &adc_I_buf[N_SAMPLES_HALF],
            3.0f,
            16,
            &measurement_result
        );
        result_ready = 1;
        v_full_ready = 0;
        i_full_ready = 0;
    }
    BSP_LED_On(LED_YELLOW);
}

void I_RxFullDone(DMA_HandleTypeDef *hdma)
{
    i_full_ready = 1;
    if (v_full_ready) {
        /* Process second half of buffer
           while DMA is filling first half again */
        dsp_pipeline_process_frame(
            &dsp_pipeline,
            &adc_V_buf[N_SAMPLES_HALF],
            &adc_I_buf[N_SAMPLES_HALF],
            3.0f,
            16,
            &measurement_result
        );
        result_ready = 1;
        v_full_ready = 0;
        i_full_ready = 0;
    }
}

// Call once at startup (e.g. in main() after SystemClock_Config)
void DWT_Init(void)
{
    CoreDebug->DEMCR |= CoreDebug_DEMCR_TRCENA_Msk;

#if defined(DWT_LAR_LAR_Msk) || defined(__CORTEX_M) && (__CORTEX_M == 7U)
    DWT->LAR = 0xC5ACCE55;   // unlock DWT access, required on Cortex-M7
#endif

    DWT->CYCCNT = 0;
    DWT->CTRL |= DWT_CTRL_CYCCNTENA_Msk;
}

int DWT_Verify(void)
{
    // returns 1 if cycle counter is actually incrementing
    uint32_t c1 = DWT->CYCCNT;
    for (volatile int i = 0; i < 100; i++) { }
    uint32_t c2 = DWT->CYCCNT;
    return (c2 != c1);
}

static inline void delay_us(uint32_t us)
{
    uint32_t start = DWT->CYCCNT;
    uint32_t cycles = us * (SystemCoreClock / 1000000U);
    while ((DWT->CYCCNT - start) < cycles) { }
}

void OPTO_ShiftOut(uint8_t data)
{
    for (int8_t i = 7; i >= 0; i--)
    {
        HAL_GPIO_WritePin(OPTO_SER_GPIO_Port, OPTO_SER_Pin,
                           (data & (1 << i)) ? GPIO_PIN_SET : GPIO_PIN_RESET);
        delay_us(1);  // let SER settle before the clock edge

        HAL_GPIO_WritePin(OPTO_SRCLK_GPIO_Port, OPTO_SRCLK_Pin, GPIO_PIN_SET);
        delay_us(1);
        HAL_GPIO_WritePin(OPTO_SRCLK_GPIO_Port, OPTO_SRCLK_Pin, GPIO_PIN_RESET);
        delay_us(1);
    }

    HAL_GPIO_WritePin(OPTO_RCLK_GPIO_Port, OPTO_RCLK_Pin, GPIO_PIN_SET);
    delay_us(1);
    HAL_GPIO_WritePin(OPTO_RCLK_GPIO_Port, OPTO_RCLK_Pin, GPIO_PIN_RESET);
}

/* PGA281 binary gain codes (G3:G0), datasheet table: 0b0011 = gain 1 */
uint8_t GetPGAGainCode(uint16_t gain)
{
    switch (gain)
    {
                               // G3:G0
        case 1:   return 0x03; // 0011
        case 2:   return 0x04; // 0100
        case 4:   return 0x05; // 0101
        case 8:   return 0x06; // 0110
        case 16:  return 0x07; // 0111
        case 32:  return 0x08; // 1000
        case 64:  return 0x09; // 1001
        case 128: return 0x0A; // 1010
        default:  return 0x03; // Default to Gain 1 if invalid input is given
    }
}

void SetPGA_Gains(uint16_t voltage_gain, uint16_t current_gain)
{
    uint8_t v_code = GetPGAGainCode(voltage_gain);
    uint8_t i_code = GetPGAGainCode(current_gain);

    // 1. Position Voltage Code
    // Standard order mapping to upper nibble: QH=G3_V ... QE=G0_V
    uint8_t shift_data = (v_code << 4);

    // 2. Position Current Code
    // The current pins are wired in reverse order to the lower nibble:
    // QA(bit 0) = G3_I, QB(bit 1) = G2_I, QC(bit 2) = G1_I, QD(bit 3) = G0_I
    // Therefore, we must reverse the 4 bits of i_code
    uint8_t i_code_reversed = 0;
    if (i_code & 0x01) i_code_reversed |= 0x08; // bit 0 moves to bit 3
    if (i_code & 0x02) i_code_reversed |= 0x04; // bit 1 moves to bit 2
    if (i_code & 0x04) i_code_reversed |= 0x02; // bit 2 moves to bit 1
    if (i_code & 0x08) i_code_reversed |= 0x01; // bit 3 moves to bit 0

    // Combine both nibbles
    shift_data |= i_code_reversed;

    // 3. Send out to the shift register
    OPTO_ShiftOut(shift_data);

    /* Record for the measurement-frame gain echo */
    pga_active_v_gain = voltage_gain;
    pga_active_i_gain = current_gain;
}

static int PGA_IsValidGain(uint16_t gain)
{
    return (gain >= 1) && (gain <= 128) &&
           ((gain & (gain - 1)) == 0);  /* power of two */
}

/* Parse "GAIN,<v>,<i>" accumulated by the RX interrupt and apply it.
   Invalid or malformed commands are silently ignored (gains unchanged). */
static void PGA_ProcessCommand(void)
{
    unsigned int v_gain = 0, i_gain = 0;

    if (sscanf(pga_cmd_buf, "GAIN,%u,%u", &v_gain, &i_gain) == 2 &&
        PGA_IsValidGain((uint16_t)v_gain) && PGA_IsValidGain((uint16_t)i_gain))
    {
        SetPGA_Gains((uint16_t)v_gain, (uint16_t)i_gain);
    }
}

/* Byte-by-byte RX: accumulate a command line, flag it on newline.
   While a command is pending (pga_cmd_ready), incoming bytes are dropped
   so the buffer stays stable until the main loop consumes it. */
void HAL_UART_RxCpltCallback(UART_HandleTypeDef *huart)
{
    if (huart->Instance == USART3)
    {
        char c = (char)pga_rx_byte;

        if (!pga_cmd_ready)
        {
            if (c == '\n' || c == '\r')
            {
                if (pga_cmd_len > 0)
                {
                    pga_cmd_buf[pga_cmd_len] = '\0';
                    pga_cmd_ready = 1;
                }
                pga_cmd_len = 0;
            }
            else if (pga_cmd_len < PGA_CMD_BUF_LEN - 1)
            {
                pga_cmd_buf[pga_cmd_len++] = c;
            }
            else
            {
                pga_cmd_len = 0;  /* line too long: discard */
            }
        }

        HAL_UART_Receive_IT(&hcom_uart[COM1], &pga_rx_byte, 1);
    }
}

/* Re-arm reception after UART errors (e.g. overrun), otherwise RX stops */
void HAL_UART_ErrorCallback(UART_HandleTypeDef *huart)
{
    if (huart->Instance == USART3)
    {
        HAL_UART_Receive_IT(&hcom_uart[COM1], &pga_rx_byte, 1);
    }
}

/* USER CODE END 4 */

void Error_Handler(void)
{
  __disable_irq();
  while (1)
  {
  }
}
